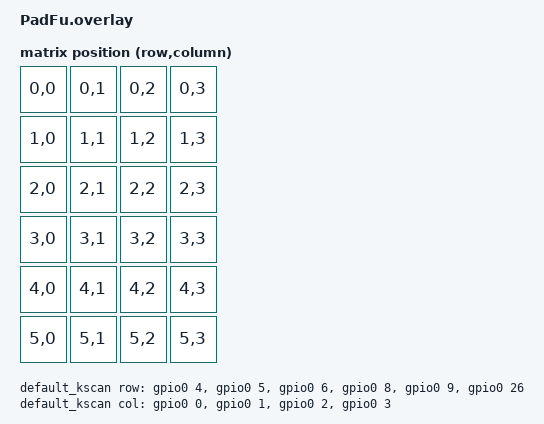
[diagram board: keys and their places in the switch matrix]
#include <dt-bindings/zmk/matrix_transform.h>
#include <physical_layouts.dtsi>

/ {
    default_kscan: kscan0 {
        compatible = "zmk,kscan-gpio-matrix";
        label = "default_kscan";
        diode-direction = "col2row";

        // COLUMNS (outputs that drive)
        col-gpios =
            <&gpio0 0  GPIO_ACTIVE_HIGH>, 
            <&gpio0 1  GPIO_ACTIVE_HIGH>, 
            <&gpio0 2 GPIO_ACTIVE_HIGH>,  
            <&gpio0 3 GPIO_ACTIVE_HIGH>; 

        // ROWS (inputs with pulldown)
        row-gpios =
            <&gpio0 4  (GPIO_ACTIVE_HIGH | GPIO_PULL_DOWN)>,
            <&gpio0 5  (GPIO_ACTIVE_HIGH | GPIO_PULL_DOWN)>,
            <&gpio0 6  (GPIO_ACTIVE_HIGH | GPIO_PULL_DOWN)>,
            <&gpio0 8  (GPIO_ACTIVE_HIGH | GPIO_PULL_DOWN)>,
            <&gpio0 9  (GPIO_ACTIVE_HIGH | GPIO_PULL_DOWN)>,
            <&gpio0 26 (GPIO_ACTIVE_HIGH | GPIO_PULL_DOWN)>;
    };

    default_transform: matrix_transform {
        compatible = "zmk,matrix-transform";
        rows = <6>;
        columns = <4>;
        map = <
            RC(0,0) RC(0,1) RC(0,2) RC(0,3)
            RC(1,0) RC(1,1) RC(1,2) RC(1,3)
            RC(2,0) RC(2,1) RC(2,2) RC(2,3)
            RC(3,0) RC(3,1) RC(3,2) RC(3,3)
            RC(4,0) RC(4,1) RC(4,2) RC(4,3)
            RC(5,0) RC(5,1) RC(5,2) RC(5,3)
        >;
    };

    physical_layout0: physical_layout_0 { // Physical-layout to be chosen in the chosen node
        compatible = "zmk,physical-layout"; // Required
        display-name = "Default Layout"; // Required
        transform = <&default_transform>; // Required, Label of the matrix transform for this layout
        kscan = <&default_kscan>; // Optional, Label of the kscan node
        
        keys =
            <&key_physical_attrs 100 100    0    0    0   0   0>,
            <&key_physical_attrs 100 100  100    0    0   0   0>,
            <&key_physical_attrs 100 100  200    0    0   0   0>,
            <&key_physical_attrs 100 100  300    0    0   0   0>,

        // Row 2
            <&key_physical_attrs 100 100    0  100    0   0   0>,
            <&key_physical_attrs 100 100  100  100    0   0   0>,
            <&key_physical_attrs 100 100  200  100    0   0   0>,
            <&key_physical_attrs 100 100  300  100    0   0   0>,

        // Row 3
            <&key_physical_attrs 100 100    0  200    0   0   0>,
            <&key_physical_attrs 100 100  100  200    0   0   0>,
            <&key_physical_attrs 100 100  200  200    0   0   0>,
            <&key_physical_attrs 100 100  300  200    0   0   0>,

        // Row 4
            <&key_physical_attrs 100 100    0  300    0   0   0>,
            <&key_physical_attrs 100 100  100  300    0   0   0>,
            <&key_physical_attrs 100 100  200  300    0   0   0>,
            <&key_physical_attrs 100 100  300  300    0   0   0>,

        // Row 5
            <&key_physical_attrs 100 100    0  400    0   0   0>,
            <&key_physical_attrs 100 100  100  400    0   0   0>,
            <&key_physical_attrs 100 100  200  400    0   0   0>,
            <&key_physical_attrs 100 100  300  400    0   0   0>,

        // Row 6
            <&key_physical_attrs 100 100    0  500    0   0   0>,
            <&key_physical_attrs 100 100  100  500    0   0   0>,
            <&key_physical_attrs 100 100  200  500    0   0   0>,
            <&key_physical_attrs 100 100  300  500    0   0   0>
            ;
    };
    
    chosen {
        zmk,kscan = &default_kscan;// Required if it's the default kscan for all physical layouts
        zmk,physical-layout = &physical_layout0;
    };
};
